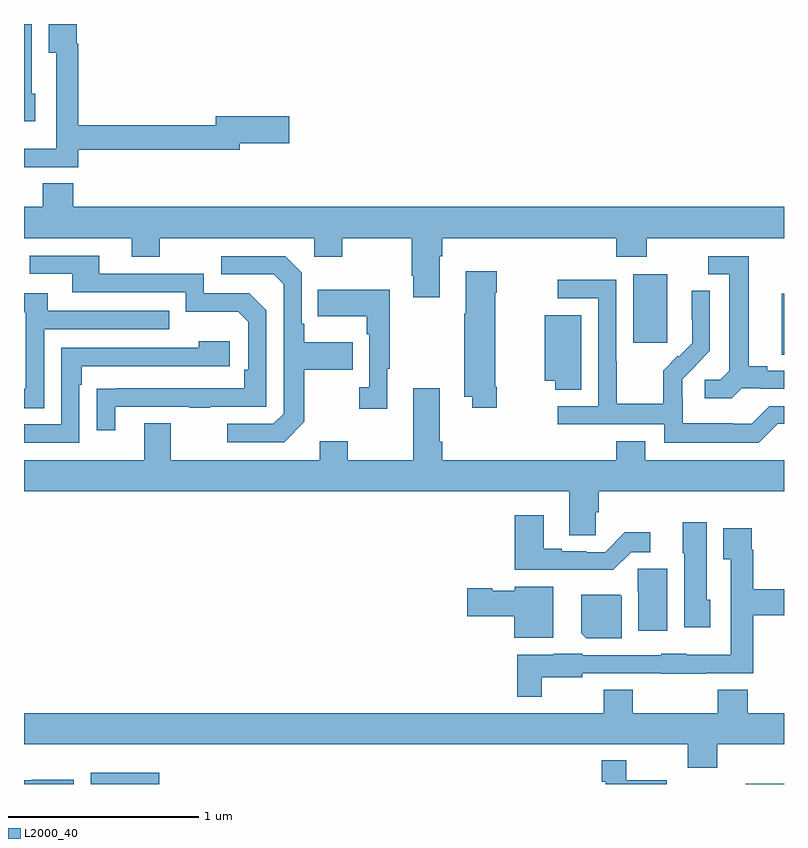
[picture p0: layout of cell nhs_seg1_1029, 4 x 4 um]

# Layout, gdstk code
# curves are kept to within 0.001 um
import gdstk
lib = gdstk.Library(unit=1e-6, precision=1e-09)
def R(c, l, rs):  # rectangles x0, y0, x1, y1
    for r in rs: c.add(gdstk.rectangle(r[:2], r[2:], *l))
def P(c, l, *ps):  # polygons
    for p in ps: c.add(gdstk.Polygon(p, *l))
L2000_40 = (2000, 40)

nhs_seg1_1029 = lib.new_cell('nhs_seg1_1029')
R(nhs_seg1_1029, L2000_40, [(167.351,542.199,167.713,542.257), (170.799,542.199,171,542.201), (170.987,544.459,171,544.779), (170.207,544.521,170.386,544.882)])
P(nhs_seg1_1029, L2000_40, [(167.035,545.445),(167.285,545.445),(167.285,545.538),(168.136,545.538),(168.136,545.572),(168.397,545.572),(168.397,545.714),(168.008,545.714),(168.008,545.666),(167.285,545.666),(167.285,546.095),(167.278,546.095),(167.278,546.199),(167.129,546.199),(167.129,546.047),(167.169,546.047),(167.169,545.542),(167,545.542),(167,545.444),(167.035,545.444)],
  [(167.059,545.832),(167.041,545.832),(167.041,546.199),(167,546.199),(167,545.688),(167.059,545.688)],
  [(169.189,544.976),(169.202,544.976),(169.202,545.072),(170.117,545.072),(170.117,544.973),(170.277,544.973),(170.277,545.072),(171,545.072),(171,545.236),(167.258,545.236),(167.258,545.36),(167.098,545.36),(167.098,545.236),(167,545.236),(167,545.072),(167.567,545.072),(167.567,544.973),(167.715,544.973),(167.715,545.072),(168.528,545.072),(168.528,544.973),(168.675,544.973),(168.675,545.072),(169.042,545.072),(169.042,544.873),(169.049,544.873),(169.049,544.761),(169.189,544.761)],
  [(167.479,544.185),(167.869,544.185),(167.869,544.18),(167.981,544.18),(167.981,544.185),(168.276,544.185),(168.276,544.692),(168.186,544.782),(167.946,544.782),(167.946,544.884),(167.395,544.884),(167.395,544.98),(167.031,544.98),(167.031,544.884),(167.255,544.884),(167.255,544.788),(167.85,544.788),(167.85,544.685),(168.127,544.685),(168.18,544.632),(168.18,544.378),(168.16,544.378),(168.16,544.281),(167.383,544.28),(167.383,544.062),(167.479,544.062)],
  [(168.475,544.105),(168.475,544.378),(168.731,544.378),(168.731,544.525),(168.475,544.525),(168.475,544.621),(168.462,544.621),(168.462,544.89),(168.375,544.977),(168.039,544.977),(168.039,544.881),(168.315,544.881),(168.366,544.83),(168.366,544.149),(168.312,544.095),(168.069,544.095),(168.069,543.999),(168.369,543.999)],
  [(170.778,544.281),(170.872,544.281),(170.872,544.278),(171,544.278),(171,544.374),(170.911,544.374),(170.911,544.397),(170.815,544.397),(170.815,544.977),(170.601,544.977),(170.601,544.881),(170.711,544.881),(170.711,544.373),(170.664,544.326),(170.583,544.326),(170.583,544.229),(170.726,544.229)],
  [(169.488,544.291),(169.48,544.291),(169.48,544.784),(169.488,544.784),(169.488,544.897),(169.325,544.897),(169.325,544.673),(169.318,544.673),(169.318,544.238),(169.358,544.238),(169.358,544.179),(169.488,544.179)],
  [(170.967,544.095),(171,544.095),(171,544.188),(170.922,544.188),(170.829,544.095),(170.729,544.095),(170.729,544.099),(170.466,544.099),(170.466,544.233),(170.464,544.233),(170.464,544.33),(170.61,544.478),(170.61,544.796),(170.514,544.796),(170.514,544.642),(170.516,544.642),(170.516,544.52),(170.445,544.449),(170.442,544.452),(170.365,544.375),(170.365,544.201),(170.121,544.201),(170.121,544.424),(170.118,544.424),(170.118,544.854),(169.809,544.854),(169.809,544.755),(170.022,544.755),(170.022,544.188),(169.809,544.188),(169.809,544.092),(170.37,544.092),(170.37,543.995),(170.867,543.995)],
  [(168.913,544.385),(168.925,544.385),(168.925,544.801),(168.547,544.801),(168.547,544.661),(168.804,544.661),(168.804,544.565),(168.816,544.565),(168.816,544.286),(168.765,544.286),(168.765,544.173),(168.913,544.173)],
  [(167.106,544.593),(167.765,544.593),(167.765,544.689),(167.125,544.689),(167.125,544.783),(167,544.783),(167,544.683),(167.01,544.683),(167.01,544.278),(167,544.278),(167,544.177),(167.106,544.177)],
  [(169.933,544.666),(169.742,544.666),(169.742,544.322),(169.795,544.322),(169.795,544.273),(169.933,544.273)],
  [(167.292,544.301),(167.305,544.301),(167.305,544.398),(168.082,544.398),(168.082,544.528),(167.921,544.528),(167.921,544.494),(167.196,544.494),(167.196,544.092),(167,544.092),(167,543.996),(167.292,543.996)],
  [(169.189,544),(169.189,544.282),(169.049,544.282),(169.049,543.904),(168.705,543.904),(168.705,544.003),(168.557,544.003),(168.557,543.904),(167.773,543.904),(167.773,544.099),(167.633,544.099),(167.633,543.904),(167,543.904),(167,543.74),(169.871,543.74),(169.871,543.508),(170.01,543.508),(170.01,543.63),(170.024,543.63),(170.024,543.74),(171,543.74),(171,543.904),(170.269,543.904),(170.269,544.003),(170.117,544.003),(170.117,543.904),(169.202,543.904),(169.202,544)],
  [(170.196,543.42),(170.296,543.42),(170.296,543.523),(170.161,543.523),(170.058,543.42),(169.958,543.42),(169.958,543.423),(169.831,543.423),(169.831,543.436),(169.735,543.436),(169.735,543.613),(169.583,543.613),(169.583,543.326),(170.101,543.326)],
  [(170.611,543.168),(170.593,543.168),(170.593,543.577),(170.468,543.577),(170.468,543.414),(170.474,543.414),(170.474,543.024),(170.611,543.024)],
  [(169.726,542.762),(169.938,542.762),(169.938,542.781),(170.355,542.781),(170.355,542.78),(170.587,542.78),(170.587,542.781),(170.837,542.781),(170.837,543.088),(171,543.088),(171,543.224),(170.837,543.224),(170.837,543.431),(170.83,543.431),(170.83,543.544),(170.681,543.544),(170.681,543.383),(170.721,543.383),(170.721,542.878),(170.487,542.878),(170.487,542.884),(170.355,542.884),(170.355,542.877),(169.938,542.877),(169.938,542.884),(169.788,542.884),(169.788,542.878),(169.597,542.878),(169.597,542.657),(169.726,542.657)],
  [(170.386,543.333),(170.23,543.333),(170.23,543.21),(170.234,543.21),(170.234,543.006),(170.386,543.006)],
  [(169.786,543.238),(169.584,543.238),(169.584,543.217),(169.464,543.217),(169.464,543.23),(169.332,543.23),(169.332,543.083),(169.58,543.083),(169.58,542.969),(169.786,542.969)],
  [(170.146,543.188),(170.138,543.196),(169.934,543.196),(169.934,542.992),(169.96,542.966),(170.146,542.966)],
  [(170.649,542.408),(171,542.408),(171,542.572),(170.81,542.572),(170.81,542.696),(170.65,542.696),(170.65,542.572),(170.205,542.572),(170.205,542.696),(170.05,542.696),(170.05,542.572),(167,542.572),(167,542.408),(170.494,542.408),(170.494,542.284),(170.649,542.284)],
  [(167.262,542.222),(167.041,542.222),(167.041,542.22),(167,542.22),(167,542.199),(167.262,542.199)],
  [(170.17,542.218),(170.17,542.323),(170.041,542.323),(170.041,542.21),(170.061,542.21),(170.061,542.199),(170.382,542.199),(170.382,542.218)])

lib.write_gds('nhs_seg1_1029.gds')
